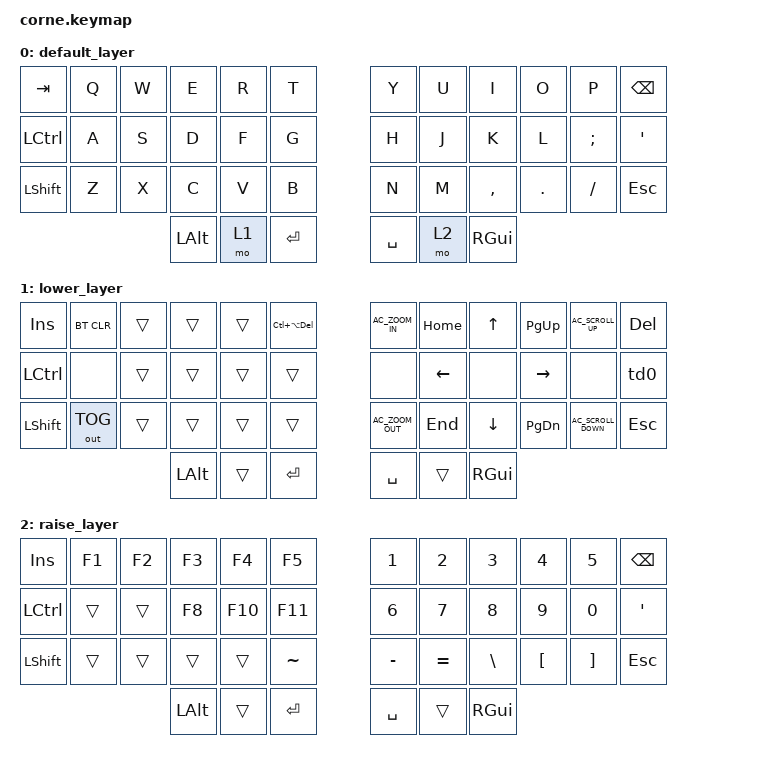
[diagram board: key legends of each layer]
/*
 * Copyright (c) 2020 The ZMK Contributors
 *
 * SPDX-License-Identifier: MIT
 */

#include <behaviors.dtsi>
#include <dt-bindings/zmk/keys.h>
#include <dt-bindings/zmk/bt.h>
#include <dt-bindings/zmk/outputs.h>


/ {
	behaviors {
		td0: tap_dance_0 {
			compatible = "zmk,behavior-tap-dance";
			label = "TAP_DANCE_0";
                        #binding-cells = <0>;
			tapping-term-ms = <300>;
			bindings = <&bt BT_SEL 0>, <&bt BT_SEL 1>, <&bt BT_SEL 2>, <&bt BT_SEL 3>, <&bt BT_SEL 4>;
		};
	};   

        keymap {
                compatible = "zmk,keymap";

                default_layer {
// -----------------------------------------------------------------------------------------
// |  TAB |  Q  |  W  |  E  |  R  |  T  |   |  Y  |  U   |  I  |  O  |  P  | BKSP |
// | CTRL |  A  |  S  |  D  |  F  |  G  |   |  H  |  J   |  K  |  L  |  ;  |  '   |
// | SHFT |  Z  |  X  |  C  |  V  |  B  |   |  N  |  M   |  ,  |  .  |  /  | ESC  |
//                    | ALT | LWR | ENT |   | SPC | RSE  | GUI |
                        bindings = <
   &kp TAB   &kp Q &kp W &kp E &kp R &kp T   &kp Y &kp U  &kp I     &kp O    &kp P    &kp BSPC
   &kp LCTRL &kp A &kp S &kp D &kp F &kp G   &kp H &kp J  &kp K     &kp L    &kp SEMI &kp SQT
   &kp LSHFT &kp Z &kp X &kp C &kp V &kp B   &kp N &kp M  &kp COMMA &kp DOT  &kp FSLH &kp ESC
                  &kp LALT &mo 1 &kp RET   &kp SPACE &mo 2 &kp RGUI
                        >;
                };
                lower_layer {
// -----------------------------------------------------------------------------------------
// | INS   |  BTCLR   |     |     |     |  CAD |   |  Zoom In  |  HOME  |  UP  |  PG_UP  |  Scroll Up  | DEL |
// | CTRL  |          |     |     |     |      |   |           |  LFT   |      |  RGT    |             | TD0 |
// | SHFT  |  BT Tog  |     |     |     |      |   |  Zoom Out |  END   |  DWN | PG_Down |  Scrool Dn  | ESC |
//                    | ALT |     | ENT |   | SPC |     | GUI |
                        bindings = <
   &kp INS    &bt BT_CLR    &trans    &trans       &trans     &kp LC(LA(DEL))     &kp C_AC_ZOOM_IN   &kp HOME  &kp UP    &kp PG_UP  &kp C_AC_SCROLL_UP   &kp DEL
   &kp LCTRL  &none        &trans    &trans       &trans     &trans     &none              &kp LEFT  &none     &kp RIGHT  &none                &td0
   &kp LSHFT  &out OUT_TOG &trans    &trans       &trans     &trans     &kp C_AC_ZOOM_OUT  &kp END   &kp DOWN  &kp PG_DN  &kp C_AC_SCROLL_DOWN &kp ESC
                       	     &kp LALT     &trans     &kp RET    &kp SPACE  &trans   &kp RGUI
                        >;
                };

                raise_layer {
// -----------------------------------------------------------------------------------------
// | INS  |  F1  |  F2  |  F3  |  F4  |  F5  |   |  1  |  2  |  3  |  4  |  5  | BKSP |
// | CTRL |      |      |  F8  |  F10 |  F11 |   |  6  |  7  |  8  |  9  |  0  |  '   |
// | SHFT |      |      |      |      |  ~   |   |  -  |  =  |  \  |  [  |  ]  |  ESC   |
//                    | ALT |     | ENT |   | SPC |     | GUI |
                        bindings = <
   &kp INS   &kp F1   &kp F2  &kp F3   &kp F4   &kp F5    &kp N1    &kp N2    &kp N3   &kp N4   &kp N5   &kp BSPC
   &kp LCTRL &trans   &trans  &kp F8   &kp F10  &kp F11   &kp N6    &kp N7    &kp N8   &kp N9   &kp N0   &kp SQT
   &kp LSHFT &trans   &trans  &trans   &trans   &kp TILDE &kp MINUS &kp EQUAL &kp BSLH &kp LBKT &kp RBKT &kp ESC
                    	      &kp LALT &trans   &kp RET   &kp SPACE   &trans    &kp RGUI
                        >;
                };
        };
};
